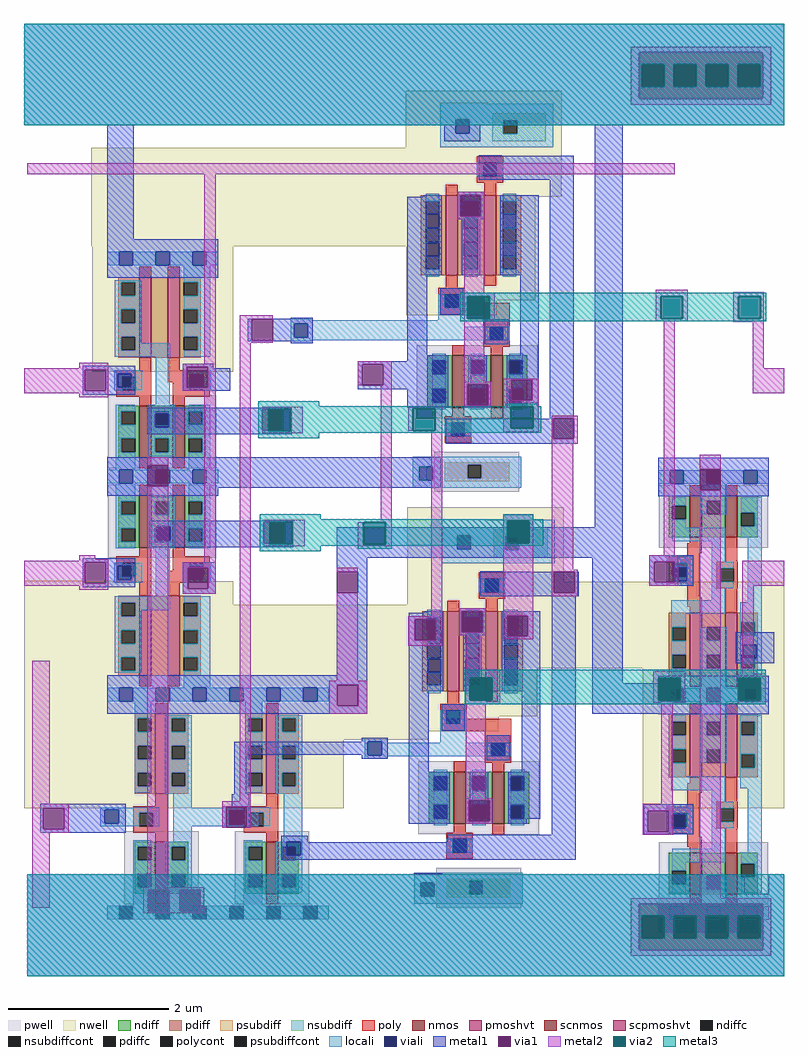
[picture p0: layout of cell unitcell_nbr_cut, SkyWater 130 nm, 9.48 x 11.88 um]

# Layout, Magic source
magic
tech sky130A
magscale 1 2
<< nwell >>
rect -406 636 388 882
rect -574 -766 -356 -198
rect -62 -278 382 -258
rect -62 -444 416 -278
rect 690 -416 1048 -200
rect -62 -452 434 -444
rect 202 -594 434 -452
<< locali >>
rect 92 452 142 456
rect 460 452 526 484
rect 92 443 526 452
rect 92 409 100 443
rect 134 436 526 443
rect 134 409 580 436
rect 92 402 580 409
rect 92 400 142 402
rect -342 319 -304 322
rect -342 285 -340 319
rect -306 285 -304 319
rect -342 282 -304 285
rect -164 317 -124 318
rect -164 283 -161 317
rect -127 283 -124 317
rect -164 282 -124 283
rect -252 219 -208 224
rect -252 185 -247 219
rect -213 185 -208 219
rect -252 180 -208 185
rect -248 -63 -204 -58
rect -248 -97 -243 -63
rect -209 -97 -204 -63
rect -248 -102 -204 -97
rect -342 -161 -304 -158
rect -342 -195 -340 -161
rect -306 -195 -304 -161
rect -342 -198 -304 -195
rect -164 -161 -126 -158
rect -164 -195 -162 -161
rect -128 -195 -126 -161
rect -164 -198 -126 -195
rect 1044 -165 1082 -162
rect 1044 -199 1046 -165
rect 1080 -199 1082 -165
rect 1044 -202 1082 -199
rect 1218 -357 1256 -354
rect 1218 -391 1220 -357
rect 1254 -391 1256 -357
rect 1218 -394 1256 -391
rect 276 -599 334 -590
rect 276 -633 284 -599
rect 318 -602 334 -599
rect 464 -602 530 -522
rect 318 -633 588 -602
rect 276 -636 588 -633
rect 276 -642 334 -636
rect -384 -769 -288 -764
rect -384 -803 -372 -769
rect -338 -803 -288 -769
rect -384 -810 -288 -803
rect -176 -771 10 -764
rect -176 -805 -62 -771
rect -28 -805 10 -771
rect -176 -810 10 -805
rect 1040 -781 1078 -778
rect 1040 -815 1042 -781
rect 1076 -815 1078 -781
rect 1040 -818 1078 -815
rect 80 -849 118 -846
rect 80 -883 82 -849
rect 116 -883 118 -849
rect 80 -886 118 -883
<< viali >>
rect 100 409 134 443
rect -340 285 -306 319
rect -161 283 -127 317
rect -247 185 -213 219
rect -243 -97 -209 -63
rect -340 -195 -306 -161
rect -162 -195 -128 -161
rect 1046 -199 1080 -165
rect 1220 -391 1254 -357
rect 284 -633 318 -599
rect -372 -803 -338 -769
rect -62 -805 -28 -771
rect 1042 -815 1076 -781
rect 82 -883 116 -849
<< metal1 >>
rect -574 1120 1322 1192
rect -574 1004 961 1120
rect 1269 1004 1322 1120
rect -574 938 1322 1004
rect -366 634 -300 938
rect 92 456 146 458
rect -16 454 146 456
rect -16 402 -6 454
rect 46 443 146 454
rect 46 409 100 443
rect 134 409 146 443
rect 46 402 146 409
rect -16 400 146 402
rect 92 394 146 400
rect -428 328 -296 338
rect -428 276 -422 328
rect -370 319 -296 328
rect -370 285 -340 319
rect -306 285 -296 319
rect -370 276 -296 285
rect -178 336 -102 344
rect -178 284 -168 336
rect -116 332 -102 336
rect 258 342 406 350
rect -116 284 -60 332
rect -178 283 -161 284
rect -127 283 -60 284
rect -178 276 -60 283
rect 258 290 270 342
rect 322 290 406 342
rect 258 280 406 290
rect -428 266 -296 276
rect -266 230 94 234
rect -266 219 20 230
rect -266 185 -247 219
rect -213 185 20 219
rect -266 178 20 185
rect 72 178 94 230
rect -266 168 94 178
rect -118 34 432 110
rect -262 -52 98 -48
rect -262 -63 24 -52
rect -262 -97 -243 -63
rect -209 -97 24 -63
rect -262 -104 24 -97
rect 76 -104 98 -52
rect 850 -64 920 938
rect -262 -114 98 -104
rect 206 -140 920 -64
rect -428 -152 -296 -142
rect -428 -204 -422 -152
rect -370 -161 -296 -152
rect -370 -195 -340 -161
rect -306 -195 -296 -161
rect -370 -204 -296 -195
rect -428 -214 -296 -204
rect -178 -161 -96 -152
rect -178 -166 -162 -161
rect -128 -166 -96 -161
rect -178 -218 -166 -166
rect -114 -218 -96 -166
rect -178 -230 -96 -218
rect 206 -176 282 -140
rect 258 -228 282 -176
rect 800 -228 810 -176
rect 206 -434 282 -228
rect 792 -236 810 -228
rect 628 -285 686 -282
rect 392 -294 462 -286
rect 392 -346 401 -294
rect 453 -346 462 -294
rect 628 -337 631 -285
rect 683 -337 686 -285
rect 628 -340 686 -337
rect 392 -354 462 -346
rect 186 -458 282 -434
rect 186 -510 208 -458
rect 260 -510 282 -458
rect 186 -530 282 -510
rect 844 -454 920 -140
rect 986 -150 1096 -134
rect 986 -202 998 -150
rect 1050 -165 1096 -150
rect 1080 -199 1096 -165
rect 1050 -202 1096 -199
rect 986 -210 1096 -202
rect 1202 -357 1298 -326
rect 1202 -391 1220 -357
rect 1254 -391 1298 -357
rect 1202 -404 1298 -391
rect 844 -530 1052 -454
rect 268 -599 334 -590
rect 268 -600 284 -599
rect -50 -632 284 -600
rect -50 -730 -18 -632
rect 268 -633 284 -632
rect 318 -633 334 -599
rect 268 -642 334 -633
rect -534 -766 -320 -754
rect -56 -760 -12 -730
rect -534 -818 -526 -766
rect -474 -769 -320 -766
rect -474 -803 -372 -769
rect -338 -803 -320 -769
rect -474 -818 -320 -803
rect -80 -762 -12 -760
rect -80 -814 -70 -762
rect -18 -814 -12 -762
rect 972 -772 1096 -756
rect -534 -826 -320 -818
rect 972 -824 982 -772
rect 1034 -781 1096 -772
rect 1034 -815 1042 -781
rect 1076 -815 1096 -781
rect 1034 -824 1096 -815
rect 972 -830 1096 -824
rect 68 -849 134 -834
rect 68 -883 82 -849
rect 116 -850 134 -849
rect 116 -883 500 -850
rect 68 -894 500 -883
rect -566 -970 1224 -930
rect -566 -1022 -264 -970
rect -212 -1022 -186 -970
rect -134 -1004 1224 -970
rect 1284 -1004 1322 -930
rect -134 -1022 961 -1004
rect -566 -1120 961 -1022
rect 1269 -1120 1322 -1004
rect -566 -1184 1322 -1120
<< via1 >>
rect 961 1004 1269 1120
rect -6 402 46 454
rect -422 276 -370 328
rect -168 317 -116 336
rect -168 284 -161 317
rect -161 284 -127 317
rect -127 284 -116 317
rect 270 290 322 342
rect 642 252 694 304
rect 20 178 72 230
rect 746 156 798 208
rect -266 38 -214 90
rect 24 -104 76 -52
rect 1112 28 1164 80
rect -422 -204 -370 -152
rect -166 -195 -162 -166
rect -162 -195 -128 -166
rect -128 -195 -114 -166
rect -166 -218 -114 -195
rect 206 -228 258 -176
rect 748 -228 800 -176
rect 401 -346 453 -294
rect 631 -337 683 -285
rect 208 -510 260 -458
rect 998 -165 1050 -150
rect 998 -199 1046 -165
rect 1046 -199 1050 -165
rect 998 -202 1050 -199
rect -526 -818 -474 -766
rect -70 -771 -18 -762
rect -70 -805 -62 -771
rect -62 -805 -28 -771
rect -28 -805 -18 -771
rect -70 -814 -18 -805
rect 982 -824 1034 -772
rect -264 -1022 -212 -970
rect -186 -1022 -134 -970
rect 961 -1120 1269 -1004
<< metal2 >>
rect 940 1120 1290 1134
rect 940 1004 961 1120
rect 1269 1004 1290 1120
rect 940 990 1290 1004
rect -566 816 1050 844
rect -436 332 -364 346
rect -124 344 -96 816
rect 528 512 600 520
rect -574 328 -364 332
rect -574 276 -422 328
rect -370 276 -364 328
rect -178 336 -96 344
rect -178 284 -168 336
rect -116 284 -96 336
rect -178 276 -96 284
rect -574 270 -364 276
rect -436 260 -364 270
rect -266 90 -214 110
rect -436 -144 -396 -134
rect -436 -148 -364 -144
rect -574 -152 -364 -148
rect -574 -204 -422 -152
rect -370 -204 -364 -152
rect -574 -210 -364 -204
rect -436 -220 -364 -210
rect -554 -754 -510 -398
rect -554 -766 -462 -754
rect -554 -818 -526 -766
rect -474 -818 -462 -766
rect -554 -826 -462 -818
rect -554 -1014 -510 -826
rect -266 -962 -214 38
rect -124 -152 -96 276
rect -178 -166 -96 -152
rect -178 -218 -166 -166
rect -114 -218 -96 -166
rect -178 -230 -96 -218
rect -36 454 46 464
rect -36 402 -6 454
rect 528 456 532 512
rect 588 456 600 512
rect 528 450 600 456
rect 1002 512 1082 528
rect 1002 456 1014 512
rect 1070 456 1082 512
rect 1002 450 1082 456
rect 1196 512 1272 522
rect 1196 456 1208 512
rect 1264 456 1272 512
rect -36 396 46 402
rect -36 -748 -8 396
rect 258 342 344 350
rect 258 290 270 342
rect 322 290 344 342
rect 20 231 122 236
rect 20 230 35 231
rect 20 175 35 178
rect 91 175 122 231
rect 20 170 122 175
rect 24 -51 126 -46
rect 24 -52 39 -51
rect 24 -107 39 -104
rect 95 -107 126 -51
rect 316 -52 344 290
rect 622 304 710 306
rect 622 252 642 304
rect 694 252 710 304
rect 622 238 710 252
rect 384 232 470 236
rect 384 176 396 232
rect 452 176 470 232
rect 24 -112 126 -107
rect 258 -108 272 -52
rect 328 -108 344 -52
rect 258 -112 344 -108
rect 206 -176 258 -166
rect 206 -448 258 -228
rect 442 -286 470 176
rect 622 182 640 238
rect 696 182 710 238
rect 622 172 710 182
rect 742 208 808 214
rect 742 156 746 208
rect 798 156 808 208
rect 742 144 808 156
rect 384 -294 470 -286
rect 384 -346 401 -294
rect 453 -346 470 -294
rect 622 -48 696 -33
rect 622 -104 631 -48
rect 687 -104 696 -48
rect 622 -285 696 -104
rect 742 -170 796 144
rect 1022 -134 1050 450
rect 1196 448 1272 456
rect 1244 332 1272 448
rect 1244 270 1322 332
rect 1112 80 1164 116
rect 986 -150 1058 -134
rect 742 -176 808 -170
rect 742 -228 748 -176
rect 800 -228 808 -176
rect 986 -202 998 -150
rect 1050 -202 1058 -150
rect 986 -210 1058 -202
rect 742 -236 808 -228
rect 622 -337 631 -285
rect 683 -337 696 -285
rect 622 -344 696 -337
rect 384 -360 470 -346
rect 578 -440 614 -420
rect 188 -458 282 -448
rect 188 -510 208 -458
rect 260 -510 282 -458
rect 536 -496 538 -440
rect 594 -496 614 -440
rect 578 -506 614 -496
rect 996 -440 1076 -424
rect 996 -496 1008 -440
rect 1064 -496 1076 -440
rect 996 -502 1076 -496
rect 188 -530 282 -510
rect -80 -762 -8 -748
rect 1016 -754 1044 -502
rect -80 -814 -70 -762
rect -18 -814 -8 -762
rect 970 -772 1046 -754
rect 970 -824 982 -772
rect 1034 -824 1046 -772
rect 970 -832 1046 -824
rect -276 -970 -124 -962
rect -276 -1022 -264 -970
rect -212 -1022 -186 -970
rect -134 -1022 -124 -970
rect 1112 -990 1164 28
rect 1218 -210 1322 -148
rect 1218 -430 1246 -210
rect 1206 -440 1276 -430
rect 1206 -496 1208 -440
rect 1264 -496 1276 -440
rect 1206 -506 1276 -496
rect -276 -1028 -124 -1022
rect 940 -1004 1290 -990
rect 940 -1120 961 -1004
rect 1269 -1120 1290 -1004
rect 940 -1134 1290 -1120
<< via2 >>
rect 967 1034 1023 1090
rect 1047 1034 1103 1090
rect 1127 1034 1183 1090
rect 1207 1034 1263 1090
rect 532 456 588 512
rect 1014 456 1070 512
rect 1208 456 1264 512
rect 35 230 91 231
rect 35 178 72 230
rect 72 178 91 230
rect 35 175 91 178
rect 39 -52 95 -51
rect 39 -104 76 -52
rect 76 -104 95 -52
rect 39 -107 95 -104
rect 396 176 452 232
rect 272 -108 328 -52
rect 640 182 696 238
rect 631 -104 687 -48
rect 538 -496 594 -440
rect 1008 -496 1064 -440
rect 1208 -496 1264 -440
rect 967 -1090 1023 -1034
rect 1047 -1090 1103 -1034
rect 1127 -1090 1183 -1034
rect 1207 -1090 1263 -1034
<< metal3 >>
rect -574 1090 1322 1192
rect -574 1034 967 1090
rect 1023 1034 1047 1090
rect 1103 1034 1127 1090
rect 1183 1034 1207 1090
rect 1263 1034 1322 1090
rect -574 938 1322 1034
rect 514 512 1278 520
rect 514 456 532 512
rect 588 456 1014 512
rect 1070 456 1208 512
rect 1264 456 1278 512
rect 514 450 1278 456
rect 10 237 162 250
rect 626 238 706 244
rect 626 237 640 238
rect 10 232 640 237
rect 10 231 396 232
rect 10 175 35 231
rect 91 176 396 231
rect 452 182 640 232
rect 696 237 706 238
rect 696 182 717 237
rect 452 176 717 182
rect 91 175 717 176
rect 10 171 717 175
rect 10 158 162 171
rect 14 -45 166 -32
rect 622 -45 696 -32
rect 14 -48 721 -45
rect 14 -51 631 -48
rect 14 -107 39 -51
rect 95 -52 631 -51
rect 95 -107 272 -52
rect 14 -108 272 -107
rect 328 -104 631 -52
rect 687 -104 721 -48
rect 328 -108 721 -104
rect 14 -111 721 -108
rect 14 -124 166 -111
rect 258 -118 344 -111
rect 526 -440 1276 -420
rect 526 -496 538 -440
rect 594 -496 1008 -440
rect 1064 -496 1208 -440
rect 1264 -496 1276 -440
rect 526 -506 1276 -496
rect -566 -1034 1322 -930
rect -566 -1090 967 -1034
rect 1023 -1090 1047 -1034
rect 1103 -1090 1127 -1034
rect 1183 -1090 1207 -1034
rect 1263 -1090 1322 -1034
rect -566 -1185 1322 -1090
use mux  mux_0
transform 1 0 432 0 1 146
box -54 -122 366 878
use mux  mux_1
transform 1 0 436 0 1 -892
box -54 -122 366 878
use mux  mux_2
transform 1 0 432 0 1 146
box -54 -122 366 878
use mux  mux_3
transform 1 0 436 0 1 -892
box -54 -122 366 878
use mux  mux_4
transform 1 0 432 0 1 146
box -54 -122 366 878
use mux  mux_5
transform 1 0 436 0 1 -892
box -54 -122 366 878
use sky130_fd_sc_hd__buf_1  sky130_fd_sc_hd__buf_1_0
transform 1 0 1008 0 1 -1027
box -38 -48 314 592
use sky130_fd_sc_hd__buf_1  sky130_fd_sc_hd__buf_1_1
transform 1 0 1008 0 -1 61
box -38 -48 314 592
use sky130_fd_sc_hd__buf_1  sky130_fd_sc_hd__buf_1_2
transform 1 0 1008 0 1 -1027
box -38 -48 314 592
use sky130_fd_sc_hd__buf_1  sky130_fd_sc_hd__buf_1_3
transform 1 0 1008 0 -1 61
box -38 -48 314 592
use sky130_fd_sc_hd__buf_1  sky130_fd_sc_hd__buf_1_4
transform 1 0 1008 0 1 -1027
box -38 -48 314 592
use sky130_fd_sc_hd__buf_1  sky130_fd_sc_hd__buf_1_5
transform 1 0 1008 0 -1 61
box -38 -48 314 592
use sky130_fd_sc_hd__inv_1#0  sky130_fd_sc_hd__inv_1#0_0
transform 1 0 -90 0 1 -1026
box -38 -48 314 592
use sky130_fd_sc_hd__inv_1#0  sky130_fd_sc_hd__inv_1#0_1
transform 1 0 -366 0 1 -1026
box -38 -48 314 592
use sky130_fd_sc_hd__inv_1#0  sky130_fd_sc_hd__inv_1#0_2
transform 1 0 -90 0 1 -1026
box -38 -48 314 592
use sky130_fd_sc_hd__inv_1#0  sky130_fd_sc_hd__inv_1#0_3
transform 1 0 -366 0 1 -1026
box -38 -48 314 592
use sky130_fd_sc_hd__inv_1#0  sky130_fd_sc_hd__inv_1_0
transform 1 0 -90 0 1 -1026
box -38 -48 314 592
use sky130_fd_sc_hd__inv_1#0  sky130_fd_sc_hd__inv_1_1
transform 1 0 -366 0 1 -1026
box -38 -48 314 592
use sky130_fd_sc_hd__nor2_1  sky130_fd_sc_hd__nor2_1_0
transform 1 0 -366 0 1 62
box -38 -48 314 592
use sky130_fd_sc_hd__nor2_1  sky130_fd_sc_hd__nor2_1_1
transform 1 0 -366 0 -1 62
box -38 -48 314 592
use sky130_fd_sc_hd__nor2_1  sky130_fd_sc_hd__nor2_1_2
transform 1 0 -366 0 1 62
box -38 -48 314 592
use sky130_fd_sc_hd__nor2_1  sky130_fd_sc_hd__nor2_1_3
transform 1 0 -366 0 -1 62
box -38 -48 314 592
use sky130_fd_sc_hd__nor2_1  sky130_fd_sc_hd__nor2_1_4
transform 1 0 -366 0 1 62
box -38 -48 314 592
use sky130_fd_sc_hd__nor2_1  sky130_fd_sc_hd__nor2_1_5
transform 1 0 -366 0 -1 62
box -38 -48 314 592
<< properties >>
string GDS_END 10039168
string GDS_FILE /scratch/users/lsammaro/OpenPUF/mag/merge/design_merged.gds
string GDS_START 9995172
<< end >>

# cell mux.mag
magic
tech sky130A
magscale 1 2
<< nwell >>
rect -54 614 336 878
<< pwell >>
rect 18 -122 230 -22
<< psubdiff >>
rect 44 -54 204 -48
rect 44 -88 101 -54
rect 135 -88 204 -54
rect 44 -96 204 -88
<< nsubdiff >>
rect 162 805 296 822
rect 162 771 190 805
rect 224 771 296 805
rect 162 752 296 771
<< psubdiffcont >>
rect 101 -88 135 -54
<< nsubdiffcont >>
rect 190 771 224 805
<< poly >>
rect 28 318 206 350
rect 140 240 206 318
<< locali >>
rect 32 846 146 848
rect 32 807 314 846
rect 32 773 71 807
rect 105 805 314 807
rect 105 773 190 805
rect 32 771 190 773
rect 224 771 314 805
rect 32 738 314 771
rect -36 -54 234 -34
rect -36 -59 101 -54
rect -36 -93 -20 -59
rect 14 -88 101 -59
rect 135 -88 234 -54
rect 14 -93 234 -88
rect -36 -112 234 -93
<< viali >>
rect 71 773 105 807
rect -20 -93 14 -59
<< metal1 >>
rect 42 807 132 828
rect 42 773 71 807
rect 105 773 132 807
rect 42 752 132 773
rect 128 716 186 718
rect 128 656 366 716
rect 76 618 142 626
rect -50 218 0 614
rect 76 566 82 618
rect 134 566 142 618
rect 76 558 142 566
rect 188 418 278 618
rect 32 320 90 386
rect 144 246 202 308
rect -50 88 52 218
rect 92 146 158 152
rect 92 94 100 146
rect 152 94 158 146
rect 232 100 278 418
rect 92 88 158 94
rect 306 60 366 656
rect 46 -2 366 60
rect -38 -59 34 -36
rect -38 -93 -20 -59
rect 14 -93 34 -59
rect -38 -112 34 -93
<< via1 >>
rect 82 566 134 618
rect 100 94 152 146
<< metal2 >>
rect 76 618 142 626
rect 76 566 82 618
rect 134 566 142 618
rect 76 558 142 566
rect 92 152 142 558
rect 92 146 158 152
rect 92 94 100 146
rect 152 94 158 146
rect 92 88 158 94
use sky130_fd_pr__nfet_01v8_PX9ZJG  1
transform 1 0 125 0 1 153
box -151 -153 151 153
use sky130_fd_pr__pfet_01v8_hvt_SH6FHF  2
transform 1 0 109 0 1 518
box -161 -200 161 200
use sky130_fd_pr__nfet_01v8_PX9ZJG  sky130_fd_pr__nfet_01v8_PX9ZJG_0
transform 1 0 125 0 1 153
box -151 -153 151 153
use sky130_fd_pr__nfet_01v8_PX9ZJG  sky130_fd_pr__nfet_01v8_PX9ZJG_1
transform 1 0 125 0 1 153
box -151 -153 151 153
use sky130_fd_pr__nfet_01v8_PX9ZJG  sky130_fd_pr__nfet_01v8_PX9ZJG_2
transform 1 0 125 0 1 153
box -151 -153 151 153
use sky130_fd_pr__nfet_01v8_PX9ZJG  sky130_fd_pr__nfet_01v8_PX9ZJG_3
transform 1 0 125 0 1 153
box -151 -153 151 153
use sky130_fd_pr__nfet_01v8_PX9ZJG  sky130_fd_pr__nfet_01v8_PX9ZJG_4
transform 1 0 125 0 1 153
box -151 -153 151 153
use sky130_fd_pr__pfet_01v8_hvt_SH6FHF  sky130_fd_pr__pfet_01v8_hvt_SH6FHF_0
transform 1 0 109 0 1 518
box -161 -200 161 200
use sky130_fd_pr__pfet_01v8_hvt_SH6FHF  sky130_fd_pr__pfet_01v8_hvt_SH6FHF_1
transform 1 0 109 0 1 518
box -161 -200 161 200
use sky130_fd_pr__pfet_01v8_hvt_SH6FHF  sky130_fd_pr__pfet_01v8_hvt_SH6FHF_2
transform 1 0 109 0 1 518
box -161 -200 161 200
use sky130_fd_pr__pfet_01v8_hvt_SH6FHF  sky130_fd_pr__pfet_01v8_hvt_SH6FHF_3
transform 1 0 109 0 1 518
box -161 -200 161 200
use sky130_fd_pr__pfet_01v8_hvt_SH6FHF  sky130_fd_pr__pfet_01v8_hvt_SH6FHF_4
transform 1 0 109 0 1 518
box -161 -200 161 200
<< properties >>
string GDS_END 9906562
string GDS_FILE /scratch/users/lsammaro/OpenPUF/mag/merge/design_merged.gds
string GDS_START 9891846
<< end >>

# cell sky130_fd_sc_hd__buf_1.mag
magic
tech sky130A
magscale 1 2
<< nwell >>
rect -38 261 314 582
<< pwell >>
rect 1 21 275 177
rect 31 -17 65 21
<< scnmos >>
rect 79 47 109 151
rect 167 47 197 151
<< scpmoshvt >>
rect 79 339 109 497
rect 167 339 197 497
<< ndiff >>
rect 27 106 79 151
rect 27 72 35 106
rect 69 72 79 106
rect 27 47 79 72
rect 109 93 167 151
rect 109 59 121 93
rect 155 59 167 93
rect 109 47 167 59
rect 197 123 249 151
rect 197 89 207 123
rect 241 89 249 123
rect 197 47 249 89
<< pdiff >>
rect 27 477 79 497
rect 27 443 35 477
rect 69 443 79 477
rect 27 409 79 443
rect 27 375 35 409
rect 69 375 79 409
rect 27 339 79 375
rect 109 477 167 497
rect 109 443 121 477
rect 155 443 167 477
rect 109 409 167 443
rect 109 375 121 409
rect 155 375 167 409
rect 109 339 167 375
rect 197 477 249 497
rect 197 443 207 477
rect 241 443 249 477
rect 197 396 249 443
rect 197 362 207 396
rect 241 362 249 396
rect 197 339 249 362
<< ndiffc >>
rect 35 72 69 106
rect 121 59 155 93
rect 207 89 241 123
<< pdiffc >>
rect 35 443 69 477
rect 35 375 69 409
rect 121 443 155 477
rect 121 375 155 409
rect 207 443 241 477
rect 207 362 241 396
<< poly >>
rect 79 497 109 523
rect 167 497 197 523
rect 79 324 109 339
rect 73 300 109 324
rect 73 265 103 300
rect 167 278 197 339
rect 27 249 103 265
rect 27 215 37 249
rect 71 215 103 249
rect 27 199 103 215
rect 145 262 199 278
rect 145 228 155 262
rect 189 228 199 262
rect 145 212 199 228
rect 73 190 103 199
rect 73 166 109 190
rect 79 151 109 166
rect 167 151 197 212
rect 79 21 109 47
rect 167 21 197 47
<< polycont >>
rect 37 215 71 249
rect 155 228 189 262
<< locali >>
rect 0 527 29 561
rect 63 527 121 561
rect 155 527 213 561
rect 247 527 276 561
rect 33 477 69 493
rect 33 443 35 477
rect 33 409 69 443
rect 33 375 35 409
rect 105 477 171 527
rect 105 443 121 477
rect 155 443 171 477
rect 105 409 171 443
rect 105 375 121 409
rect 155 375 171 409
rect 205 477 259 493
rect 205 443 207 477
rect 241 443 259 477
rect 205 396 259 443
rect 33 341 69 375
rect 205 362 207 396
rect 241 362 259 396
rect 33 307 168 341
rect 205 312 259 362
rect 134 278 168 307
rect 21 249 89 271
rect 21 215 37 249
rect 71 215 89 249
rect 21 197 89 215
rect 134 262 189 278
rect 134 228 155 262
rect 134 212 189 228
rect 134 161 168 212
rect 35 127 168 161
rect 223 152 259 312
rect 35 106 69 127
rect 207 123 259 152
rect 35 51 69 72
rect 105 59 121 93
rect 155 59 171 93
rect 105 17 171 59
rect 241 89 259 123
rect 207 51 259 89
rect 0 -17 29 17
rect 63 -17 121 17
rect 155 -17 213 17
rect 247 -17 276 17
<< viali >>
rect 29 527 63 561
rect 121 527 155 561
rect 213 527 247 561
rect 29 -17 63 17
rect 121 -17 155 17
rect 213 -17 247 17
<< metal1 >>
rect 0 561 276 592
rect 0 527 29 561
rect 63 527 121 561
rect 155 527 213 561
rect 247 527 276 561
rect 0 496 276 527
rect 0 17 276 48
rect 0 -17 29 17
rect 63 -17 121 17
rect 155 -17 213 17
rect 247 -17 276 17
rect 0 -48 276 -17
<< labels >>
flabel metal1 s 31 -17 65 17 0 FreeSans 200 0 0 0 VGND
port 1 nsew
flabel metal1 s 29 527 63 561 0 FreeSans 200 0 0 0 VPWR
port 2 nsew
flabel locali s 29 527 63 561 0 FreeSans 200 0 0 0 VPWR
port 2 nsew
flabel locali s 31 -17 65 17 0 FreeSans 200 0 0 0 VGND
port 1 nsew
flabel locali s 211 85 245 119 0 FreeSans 200 0 0 0 X
port 3 nsew
flabel locali s 211 357 245 391 0 FreeSans 200 0 0 0 X
port 3 nsew
flabel locali s 211 425 245 459 0 FreeSans 200 0 0 0 X
port 3 nsew
flabel locali s 29 221 63 255 0 FreeSans 200 0 0 0 A
port 4 nsew
flabel nwell s 29 527 63 561 0 FreeSans 200 0 0 0 VPB
port 5 nsew
flabel pwell s 31 -17 65 17 0 FreeSans 200 0 0 0 VNB
port 6 nsew
rlabel comment s 0 0 0 0 4 buf_1
<< properties >>
string FIXED_BBOX 0 0 276 544
string GDS_END 9891810
string GDS_FILE /scratch/users/lsammaro/OpenPUF/mag/merge/design_merged.gds
string GDS_START 9866782
string path 0.000 13.600 6.900 13.600 
<< end >>

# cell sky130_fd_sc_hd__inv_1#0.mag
magic
tech sky130A
magscale 1 2
<< nwell >>
rect -38 261 314 582
<< pwell >>
rect 42 21 228 203
<< scnmos >>
rect 120 47 150 177
<< scpmoshvt >>
rect 120 297 150 497
<< ndiff >>
rect 68 165 120 177
rect 68 131 76 165
rect 110 131 120 165
rect 68 97 120 131
rect 68 63 76 97
rect 110 63 120 97
rect 68 47 120 63
rect 150 165 202 177
rect 150 131 160 165
rect 194 131 202 165
rect 150 97 202 131
rect 150 63 160 97
rect 194 63 202 97
rect 150 47 202 63
<< pdiff >>
rect 68 485 120 497
rect 68 451 76 485
rect 110 451 120 485
rect 68 417 120 451
rect 68 383 76 417
rect 110 383 120 417
rect 68 349 120 383
rect 68 315 76 349
rect 110 315 120 349
rect 68 297 120 315
rect 150 485 202 497
rect 150 451 160 485
rect 194 451 202 485
rect 150 417 202 451
rect 150 383 160 417
rect 194 383 202 417
rect 150 349 202 383
rect 150 315 160 349
rect 194 315 202 349
rect 150 297 202 315
<< ndiffc >>
rect 76 131 110 165
rect 76 63 110 97
rect 160 131 194 165
rect 160 63 194 97
<< pdiffc >>
rect 76 451 110 485
rect 76 383 110 417
rect 76 315 110 349
rect 160 451 194 485
rect 160 383 194 417
rect 160 315 194 349
<< poly >>
rect 120 497 150 523
rect 120 265 150 297
rect 64 249 150 265
rect 64 215 80 249
rect 114 215 150 249
rect 64 199 150 215
rect 120 177 150 199
rect 120 21 150 47
<< polycont >>
rect 80 215 114 249
<< locali >>
rect 0 527 29 561
rect 63 527 121 561
rect 155 527 213 561
rect 247 527 276 561
rect 68 485 110 527
rect 68 451 76 485
rect 68 417 110 451
rect 68 383 76 417
rect 68 349 110 383
rect 68 315 76 349
rect 68 299 110 315
rect 144 485 210 493
rect 144 451 160 485
rect 194 451 210 485
rect 144 417 210 451
rect 144 383 160 417
rect 194 383 210 417
rect 144 349 210 383
rect 144 315 160 349
rect 194 315 210 349
rect 144 297 210 315
rect 64 249 130 263
rect 64 215 80 249
rect 114 215 130 249
rect 64 165 110 181
rect 164 177 210 297
rect 64 131 76 165
rect 64 97 110 131
rect 64 63 76 97
rect 64 17 110 63
rect 144 165 210 177
rect 144 131 160 165
rect 194 131 210 165
rect 144 97 210 131
rect 144 63 160 97
rect 194 63 210 97
rect 144 51 210 63
rect 0 -17 29 17
rect 63 -17 121 17
rect 155 -17 213 17
rect 247 -17 276 17
<< viali >>
rect 29 527 63 561
rect 121 527 155 561
rect 213 527 247 561
rect 29 -17 63 17
rect 121 -17 155 17
rect 213 -17 247 17
<< metal1 >>
rect 0 561 276 592
rect 0 527 29 561
rect 63 527 121 561
rect 155 527 213 561
rect 247 527 276 561
rect 0 496 276 527
rect 0 17 276 48
rect 0 -17 29 17
rect 63 -17 121 17
rect 155 -17 213 17
rect 247 -17 276 17
rect 0 -48 276 -17
<< properties >>
string FIXED_BBOX 0 0 276 544
string GDS_END 9866728
string GDS_FILE /scratch/users/lsammaro/OpenPUF/mag/merge/design_merged.gds
string GDS_START 9851748
<< end >>

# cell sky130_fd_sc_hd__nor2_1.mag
magic
tech sky130A
magscale 1 2
<< nwell >>
rect -38 261 314 582
<< pwell >>
rect 1 21 271 203
rect 30 -17 64 21
<< scnmos >>
rect 79 47 109 177
rect 163 47 193 177
<< scpmoshvt >>
rect 79 297 109 497
rect 151 297 181 497
<< ndiff >>
rect 27 163 79 177
rect 27 129 35 163
rect 69 129 79 163
rect 27 95 79 129
rect 27 61 35 95
rect 69 61 79 95
rect 27 47 79 61
rect 109 163 163 177
rect 109 129 119 163
rect 153 129 163 163
rect 109 95 163 129
rect 109 61 119 95
rect 153 61 163 95
rect 109 47 163 61
rect 193 163 245 177
rect 193 129 203 163
rect 237 129 245 163
rect 193 95 245 129
rect 193 61 203 95
rect 237 61 245 95
rect 193 47 245 61
<< pdiff >>
rect 27 485 79 497
rect 27 451 35 485
rect 69 451 79 485
rect 27 417 79 451
rect 27 383 35 417
rect 69 383 79 417
rect 27 349 79 383
rect 27 315 35 349
rect 69 315 79 349
rect 27 297 79 315
rect 109 297 151 497
rect 181 485 233 497
rect 181 451 191 485
rect 225 451 233 485
rect 181 417 233 451
rect 181 383 191 417
rect 225 383 233 417
rect 181 349 233 383
rect 181 315 191 349
rect 225 315 233 349
rect 181 297 233 315
<< ndiffc >>
rect 35 129 69 163
rect 35 61 69 95
rect 119 129 153 163
rect 119 61 153 95
rect 203 129 237 163
rect 203 61 237 95
<< pdiffc >>
rect 35 451 69 485
rect 35 383 69 417
rect 35 315 69 349
rect 191 451 225 485
rect 191 383 225 417
rect 191 315 225 349
<< poly >>
rect 79 497 109 523
rect 151 497 181 523
rect 79 265 109 297
rect 22 249 109 265
rect 22 215 37 249
rect 71 215 109 249
rect 151 265 181 297
rect 151 249 255 265
rect 151 235 205 249
rect 22 199 109 215
rect 79 177 109 199
rect 163 215 205 235
rect 239 215 255 249
rect 163 199 255 215
rect 163 177 193 199
rect 79 21 109 47
rect 163 21 193 47
<< polycont >>
rect 37 215 71 249
rect 205 215 239 249
<< locali >>
rect 0 527 29 561
rect 63 527 121 561
rect 155 527 213 561
rect 247 527 276 561
rect 19 485 85 490
rect 19 451 35 485
rect 69 451 85 485
rect 19 417 85 451
rect 19 383 35 417
rect 69 383 85 417
rect 19 349 85 383
rect 19 315 35 349
rect 69 333 85 349
rect 191 485 257 527
rect 225 451 257 485
rect 191 417 257 451
rect 225 383 257 417
rect 191 349 257 383
rect 69 315 155 333
rect 19 299 155 315
rect 225 315 257 349
rect 191 299 257 315
rect 17 249 87 265
rect 17 215 37 249
rect 71 215 87 249
rect 121 179 155 299
rect 189 249 259 265
rect 189 215 205 249
rect 239 215 259 249
rect 21 163 69 179
rect 21 129 35 163
rect 21 95 69 129
rect 21 61 35 95
rect 21 17 69 61
rect 103 163 169 179
rect 103 129 119 163
rect 153 129 169 163
rect 103 95 169 129
rect 103 61 119 95
rect 153 61 169 95
rect 103 51 169 61
rect 203 163 257 179
rect 237 129 257 163
rect 203 95 257 129
rect 237 61 257 95
rect 203 17 257 61
rect 0 -17 29 17
rect 63 -17 121 17
rect 155 -17 213 17
rect 247 -17 276 17
<< viali >>
rect 29 527 63 561
rect 121 527 155 561
rect 213 527 247 561
rect 29 -17 63 17
rect 121 -17 155 17
rect 213 -17 247 17
<< metal1 >>
rect 0 561 276 592
rect 0 527 29 561
rect 63 527 121 561
rect 155 527 213 561
rect 247 527 276 561
rect 0 496 276 527
rect 0 17 276 48
rect 0 -17 29 17
rect 63 -17 121 17
rect 155 -17 213 17
rect 247 -17 276 17
rect 0 -48 276 -17
<< labels >>
flabel locali s 29 221 63 255 0 FreeSans 200 0 0 0 B
port 1 nsew
flabel locali s 30 425 64 459 0 FreeSans 200 0 0 0 Y
port 2 nsew
flabel locali s 213 221 247 255 0 FreeSans 200 0 0 0 A
port 3 nsew
flabel nwell s 30 527 64 561 0 FreeSans 200 0 0 0 VPB
port 4 nsew
flabel pwell s 30 -17 64 17 0 FreeSans 200 0 0 0 VNB
port 5 nsew
flabel metal1 s 30 -17 64 17 0 FreeSans 200 0 0 0 VGND
port 6 nsew
flabel metal1 s 30 527 64 561 0 FreeSans 200 0 0 0 VPWR
port 7 nsew
rlabel comment s 0 0 0 0 4 nor2_1
<< properties >>
string FIXED_BBOX 0 0 276 544
string GDS_END 9061646
string GDS_FILE /scratch/users/lsammaro/OpenPUF/mag/merge/design_merged.gds
string GDS_START 9038840
string path 0.000 0.000 6.900 0.000 
<< end >>

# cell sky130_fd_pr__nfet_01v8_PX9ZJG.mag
magic
tech sky130A
magscale 1 2
<< pwell >>
rect -151 -91 151 91
<< nmos >>
rect -63 -65 -33 65
rect 33 -65 63 65
<< ndiff >>
rect -125 51 -63 65
rect -125 17 -113 51
rect -79 17 -63 51
rect -125 -17 -63 17
rect -125 -51 -113 -17
rect -79 -51 -63 -17
rect -125 -65 -63 -51
rect -33 51 33 65
rect -33 17 -17 51
rect 17 17 33 51
rect -33 -17 33 17
rect -33 -51 -17 -17
rect 17 -51 33 -17
rect -33 -65 33 -51
rect 63 51 125 65
rect 63 17 79 51
rect 113 17 125 51
rect 63 -17 125 17
rect 63 -51 79 -17
rect 113 -51 125 -17
rect 63 -65 125 -51
<< ndiffc >>
rect -113 17 -79 51
rect -113 -51 -79 -17
rect -17 17 17 51
rect -17 -51 17 -17
rect 79 17 113 51
rect 79 -51 113 -17
<< poly >>
rect 15 137 81 153
rect 15 103 31 137
rect 65 103 81 137
rect -63 65 -33 91
rect 15 87 81 103
rect 33 65 63 87
rect -63 -87 -33 -65
rect -81 -103 -15 -87
rect 33 -91 63 -65
rect -81 -137 -65 -103
rect -31 -137 -15 -103
rect -81 -153 -15 -137
<< polycont >>
rect 31 103 65 137
rect -65 -137 -31 -103
<< locali >>
rect 15 103 31 137
rect 65 103 81 137
rect -113 53 -79 69
rect -113 -17 -79 17
rect -113 -69 -79 -53
rect -17 53 17 69
rect -17 -17 17 17
rect -17 -69 17 -53
rect 79 53 113 69
rect 79 -17 113 17
rect 79 -69 113 -53
rect -81 -137 -65 -103
rect -31 -137 -15 -103
<< viali >>
rect 31 103 65 137
rect -113 51 -79 53
rect -113 19 -79 51
rect -113 -51 -79 -19
rect -113 -53 -79 -51
rect -17 51 17 53
rect -17 19 17 51
rect -17 -51 17 -19
rect -17 -53 17 -51
rect 79 51 113 53
rect 79 19 113 51
rect 79 -51 113 -19
rect 79 -53 113 -51
rect -65 -137 -31 -103
<< metal1 >>
rect 19 137 77 143
rect 19 103 31 137
rect 65 103 77 137
rect 19 97 77 103
rect -119 53 -73 65
rect -119 19 -113 53
rect -79 19 -73 53
rect -119 -19 -73 19
rect -119 -53 -113 -19
rect -79 -53 -73 -19
rect -119 -65 -73 -53
rect -23 53 23 65
rect -23 19 -17 53
rect 17 19 23 53
rect -23 -19 23 19
rect -23 -53 -17 -19
rect 17 -53 23 -19
rect -23 -65 23 -53
rect 73 53 119 65
rect 73 19 79 53
rect 113 19 119 53
rect 73 -19 119 19
rect 73 -53 79 -19
rect 113 -53 119 -19
rect 73 -65 119 -53
rect -77 -103 -19 -97
rect -77 -137 -65 -103
rect -31 -137 -19 -103
rect -77 -143 -19 -137
<< properties >>
string GDS_END 10065864
string GDS_FILE /scratch/users/lsammaro/OpenPUF/mag/merge/design_merged.gds
string GDS_START 10052804
<< end >>

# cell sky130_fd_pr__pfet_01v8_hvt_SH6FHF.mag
magic
tech sky130A
magscale 1 2
<< nwell >>
rect -65 162 161 200
rect -161 -162 161 162
rect -161 -200 65 -162
<< pmoshvt >>
rect -63 -100 -33 100
rect 33 -100 63 100
<< pdiff >>
rect -125 85 -63 100
rect -125 51 -113 85
rect -79 51 -63 85
rect -125 17 -63 51
rect -125 -17 -113 17
rect -79 -17 -63 17
rect -125 -51 -63 -17
rect -125 -85 -113 -51
rect -79 -85 -63 -51
rect -125 -100 -63 -85
rect -33 85 33 100
rect -33 51 -17 85
rect 17 51 33 85
rect -33 17 33 51
rect -33 -17 -17 17
rect 17 -17 33 17
rect -33 -51 33 -17
rect -33 -85 -17 -51
rect 17 -85 33 -51
rect -33 -100 33 -85
rect 63 85 125 100
rect 63 51 79 85
rect 113 51 125 85
rect 63 17 125 51
rect 63 -17 79 17
rect 113 -17 125 17
rect 63 -51 125 -17
rect 63 -85 79 -51
rect 113 -85 125 -51
rect 63 -100 125 -85
<< pdiffc >>
rect -113 51 -79 85
rect -113 -17 -79 17
rect -113 -85 -79 -51
rect -17 51 17 85
rect -17 -17 17 17
rect -17 -85 17 -51
rect 79 51 113 85
rect 79 -17 113 17
rect 79 -85 113 -51
<< poly >>
rect 15 181 81 197
rect 15 147 31 181
rect 65 147 81 181
rect 15 131 81 147
rect -63 100 -33 126
rect 33 100 63 131
rect -63 -131 -33 -100
rect 33 -126 63 -100
rect -81 -147 -15 -131
rect -81 -181 -65 -147
rect -31 -181 -15 -147
rect -81 -197 -15 -181
<< polycont >>
rect 31 147 65 181
rect -65 -181 -31 -147
<< locali >>
rect 15 147 31 181
rect 65 147 81 181
rect -113 85 -79 104
rect -113 17 -79 19
rect -113 -19 -79 -17
rect -113 -104 -79 -85
rect -17 85 17 104
rect -17 17 17 19
rect -17 -19 17 -17
rect -17 -104 17 -85
rect 79 85 113 104
rect 79 17 113 19
rect 79 -19 113 -17
rect 79 -104 113 -85
rect -81 -181 -65 -147
rect -31 -181 -15 -147
<< viali >>
rect 31 147 65 181
rect -113 51 -79 53
rect -113 19 -79 51
rect -113 -51 -79 -19
rect -113 -53 -79 -51
rect -17 51 17 53
rect -17 19 17 51
rect -17 -51 17 -19
rect -17 -53 17 -51
rect 79 51 113 53
rect 79 19 113 51
rect 79 -51 113 -19
rect 79 -53 113 -51
rect -65 -181 -31 -147
<< metal1 >>
rect 19 181 77 187
rect 19 147 31 181
rect 65 147 77 181
rect 19 141 77 147
rect -119 53 -73 100
rect -119 19 -113 53
rect -79 19 -73 53
rect -119 -19 -73 19
rect -119 -53 -113 -19
rect -79 -53 -73 -19
rect -119 -100 -73 -53
rect -23 53 23 100
rect -23 19 -17 53
rect 17 19 23 53
rect -23 -19 23 19
rect -23 -53 -17 -19
rect 17 -53 23 -19
rect -23 -100 23 -53
rect 73 53 119 100
rect 73 19 79 53
rect 113 19 119 53
rect 73 -19 119 19
rect 73 -53 79 -19
rect 113 -53 119 -19
rect 73 -100 119 -53
rect -77 -147 -19 -141
rect -77 -181 -65 -147
rect -31 -181 -19 -147
rect -77 -187 -19 -181
<< properties >>
string GDS_END 10081678
string GDS_FILE /scratch/users/lsammaro/OpenPUF/mag/merge/design_merged.gds
string GDS_START 10065930
<< end >>
